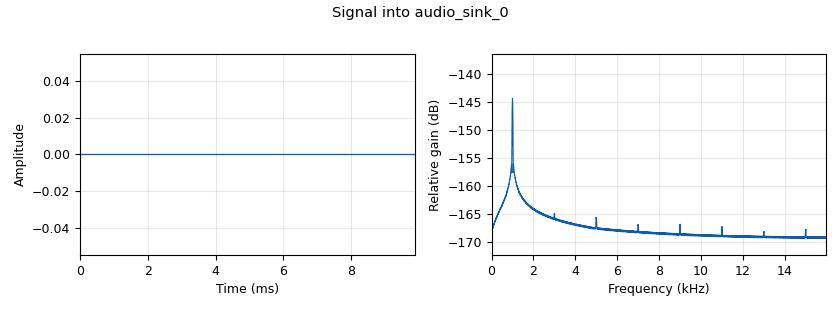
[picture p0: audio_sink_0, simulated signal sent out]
<?xml version='1.0' encoding='utf-8'?>
<?grc format='1' created='3.7.11'?>
<flow_graph>
<block>
<key>options</key>
<param><key>id</key><value>top_block</value></param>
<param><key>generate_options</key><value>qt_gui</value></param>
</block>
<block>
<key>variable_qtgui_range</key>
<param><key>id</key><value>AFFreq</value></param>
<param><key>value</key><value>1000</value></param>
<param><key>orient</key><value>Qt.Horizontal</value></param>
<param><key>start</key><value>500</value></param>
<param><key>step</key><value>100</value></param>
<param><key>stop</key><value>2500</value></param>
</block>
<block>
<key>variable_qtgui_range</key>
<param><key>id</key><value>frequency</value></param>
<param><key>value</key><value>144.275</value></param>
<param><key>orient</key><value>Qt.Horizontal</value></param>
<param><key>start</key><value>144.275</value></param>
<param><key>step</key><value>.005</value></param>
<param><key>stop</key><value>144.300</value></param>
</block>
<block>
<key>variable_qtgui_check_box</key>
<param><key>id</key><value>mute</value></param>
<param><key>value</key><value>1</value></param>
<param><key>false</key><value>1</value></param>
<param><key>label</key><value>Mute Local Audio</value></param>
<param><key>true</key><value>0</value></param>
<param><key>type</key><value>real</value></param>
</block>
<block>
<key>variable</key>
<param><key>id</key><value>rfsamp</value></param>
<param><key>value</key><value>1024000</value></param>
</block>
<block>
<key>variable</key>
<param><key>id</key><value>samp_rate</value></param>
<param><key>value</key><value>32000</value></param>
</block>
<block>
<key>variable_qtgui_range</key>
<param><key>id</key><value>speed</value></param>
<param><key>value</key><value>15</value></param>
<param><key>min_len</key><value>50</value></param>
<param><key>orient</key><value>Qt.Horizontal</value></param>
<param><key>start</key><value>10</value></param>
<param><key>step</key><value>1</value></param>
<param><key>stop</key><value>25</value></param>
<param><key>widget</key><value>dial</value></param>
</block>
<block>
<key>variable_qtgui_check_box</key>
<param><key>id</key><value>xmit</value></param>
<param><key>value</key><value>0</value></param>
<param><key>false</key><value>0</value></param>
<param><key>true</key><value>1</value></param>
<param><key>type</key><value>real</value></param>
</block>
<block>
<key>analog_sig_source_x</key>
<param><key>id</key><value>analog_sig_source_x_0</value></param>
<param><key>amp</key><value>5</value></param>
<param><key>freq</key><value>AFFreq</value></param>
<param><key>offset</key><value>0</value></param>
<param><key>type</key><value>complex</value></param>
<param><key>samp_rate</key><value>samp_rate</value></param>
<param><key>waveform</key><value>analog.GR_SIN_WAVE</value></param>
</block>
<block>
<key>audio_sink</key>
<param><key>id</key><value>audio_sink_0</value></param>
<param><key>samp_rate</key><value>samp_rate</value></param>
</block>
<block>
<key>blocks_complex_to_real</key>
<param><key>id</key><value>blocks_complex_to_real_0</value></param>
</block>
<block>
<key>blocks_multiply_const_xx</key>
<param><key>id</key><value>blocks_multiply_const_xx_0</value></param>
<param><key>const</key><value>mute</value></param>
<param><key>type</key><value>float</value></param>
</block>
<block>
<key>blocks_multiply_const_xx</key>
<param><key>id</key><value>blocks_multiply_const_xx_1</value></param>
<param><key>const</key><value>xmit</value></param>
<param><key>type</key><value>complex</value></param>
</block>
<block>
<key>blocks_multiply_xx</key>
<param><key>id</key><value>blocks_multiply_xx_0</value></param>
<param><key>type</key><value>complex</value></param>
</block>
<block>
<key>blocks_repeat</key>
<param><key>id</key><value>blocks_repeat_0</value></param>
<param><key>interp</key><value>int( samp_rate*(1.2/speed))</value></param>
<param><key>type</key><value>complex</value></param>
</block>
<block>
<key>blocks_vector_source_x</key>
<param><key>id</key><value>blocks_vector_source_x_0</value></param>
<param><key>type</key><value>complex</value></param>
<param><key>repeat</key><value>True</value></param>
<param><key>vector</key><value>(0,1,1,1,0,1,0,1,0,0,1,0,0,0,0,1,0,1,1,1,0,1,1,1,0,0,1,1,1,0,1,0,1,0,0,1,0,1,0,1,0,1,0,1,0,0,1,1,1,0,1,1,1,0,1,0,0,1,1,1,0,1,0,0,1,0,1,1,1,0,1,0,0,0,0,0,0,0,0,0,0,0,0,0,0,0,0,0,0,0,0,0,0,0,0,0,0,0,0,0,0,0,0,0,0,0,0,0,0,0,0,0,0,0,0,0,0,0,0,0,0,0,0,0,0,0,0,0,0,0,0,0,0,0,0,0,0,0,0,0,0,0,0,0,0,0,0,0,0,0,0,0,0,0,0,0,0,0,0,0,0,0,0,0,0,0,0,0,0,0,0,0,0,0,0,0,0)</value></param>
</block>
<block>
<key>iio_fmcomms2_sink</key>
<param><key>id</key><value>iio_fmcomms2_sink_0</value></param>
<param><key>buffer_size</key><value>0x8000</value></param>
<param><key>cyclic</key><value>False</value></param>
<param><key>auto_filter</key><value>True</value></param>
<param><key>uri</key><value>ip:pluto.local</value></param>
<param><key>frequency</key><value>int(frequency*1e6)</value></param>
<param><key>rf_port_select</key><value>"B"</value></param>
<param><key>bandwidth</key><value>5000</value></param>
<param><key>samplerate</key><value>rfsamp</value></param>
<param><key>tx1_en</key><value>True</value></param>
<param><key>tx2_en</key><value>False</value></param>
</block>
<block>
<key>rational_resampler_xxx</key>
<param><key>id</key><value>rational_resampler_xxx_1</value></param>
<param><key>decim</key><value>samp_rate</value></param>
<param><key>interp</key><value>rfsamp</value></param>
<param><key>taps</key><value></value></param>
<param><key>type</key><value>ccc</value></param>
</block>
<connection><source_block_id>analog_sig_source_x_0</source_block_id><sink_block_id>blocks_multiply_xx_0</sink_block_id><source_key>0</source_key><sink_key>1</sink_key></connection>
<connection><source_block_id>blocks_complex_to_real_0</source_block_id><sink_block_id>blocks_multiply_const_xx_0</sink_block_id><source_key>0</source_key><sink_key>0</sink_key></connection>
<connection><source_block_id>blocks_multiply_const_xx_0</source_block_id><sink_block_id>audio_sink_0</sink_block_id><source_key>0</source_key><sink_key>0</sink_key></connection>
<connection><source_block_id>blocks_multiply_const_xx_1</source_block_id><sink_block_id>rational_resampler_xxx_1</sink_block_id><source_key>0</source_key><sink_key>0</sink_key></connection>
<connection><source_block_id>blocks_multiply_xx_0</source_block_id><sink_block_id>blocks_complex_to_real_0</sink_block_id><source_key>0</source_key><sink_key>0</sink_key></connection>
<connection><source_block_id>blocks_multiply_xx_0</source_block_id><sink_block_id>blocks_multiply_const_xx_1</sink_block_id><source_key>0</source_key><sink_key>0</sink_key></connection>
<connection><source_block_id>blocks_repeat_0</source_block_id><sink_block_id>blocks_multiply_xx_0</sink_block_id><source_key>0</source_key><sink_key>0</sink_key></connection>
<connection><source_block_id>blocks_vector_source_x_0</source_block_id><sink_block_id>blocks_repeat_0</sink_block_id><source_key>0</source_key><sink_key>0</sink_key></connection>
<connection><source_block_id>rational_resampler_xxx_1</source_block_id><sink_block_id>iio_fmcomms2_sink_0</sink_block_id><source_key>0</source_key><sink_key>0</sink_key></connection>
</flow_graph>
